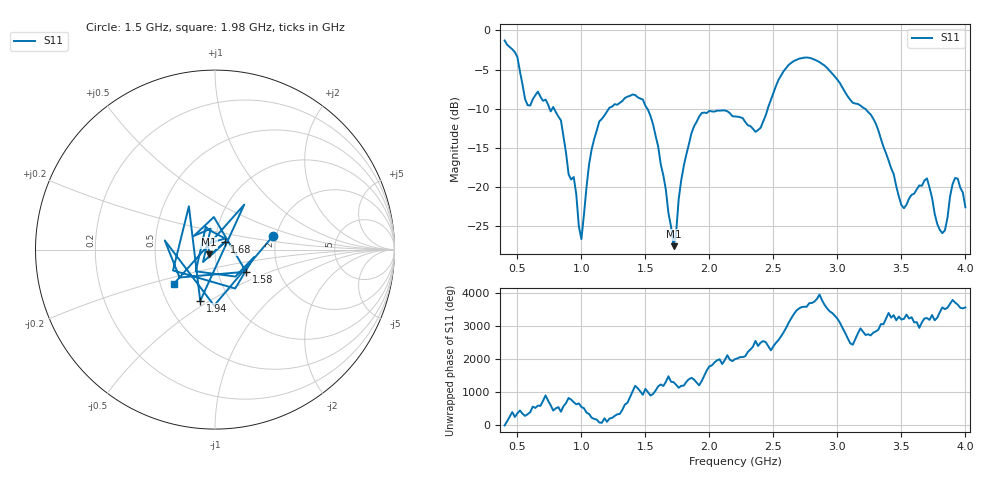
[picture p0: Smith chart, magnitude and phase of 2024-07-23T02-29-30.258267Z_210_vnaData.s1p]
!Created with skrf (http://scikit-rf.org).
# Hz S RI R 50.0
!freq ReS11 ImS11
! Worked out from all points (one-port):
!   181 points, 400 MHz to 4 GHz, reference 50 ohm
!   lowest |S11| = -27.5 dB at 1.72 GHz (marker M1), VSWR 1.09, Z = 46.7 - j2.4 ohm
!   |S11| at or under -10 dB: 787.2 MHz to 1.214 GHz (426.7 MHz wide, 42.6 % of centre); 1.515 GHz to 2.456 GHz (940.1 MHz wide, 47.3 % of centre); 3.217 GHz to end of sweep (the widest 3 of 4)
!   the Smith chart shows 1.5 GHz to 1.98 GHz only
!   S11 on the Smith chart (normalised r, x): 1.5 GHz: 1.92, +0.32; 1.58 GHz: 1.36, -0.35; 1.68 GHz: 1.11, +0.09; 1.94 GHz: 0.73, -0.46; 1.98 GHz: 0.59, -0.25
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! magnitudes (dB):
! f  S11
! 400 MHz  -1.3
! 500 MHz  -3.4
! 580 MHz  -9.5
! 660 MHz  -7.8
! 860 MHz  -13.6
! 940 MHz  -18.7
! 1 GHz  -26.6
! 1.1 GHz  -13.8
! 1.3 GHz  -9.2
! 1.5 GHz  -9.6
! 1.58 GHz  -13.5
! 1.68 GHz  -23.3
! 1.72 GHz  -27.5
! 1.76 GHz  -21.5
! 1.86 GHz  -13.1
! 1.94 GHz  -10.5
! 1.98 GHz  -10.5
! 2.2 GHz  -11.0
! 2.4 GHz  -12.4
! 2.66 GHz  -3.9
! 3.1 GHz  -8.8
! 3.28 GHz  -11.3
! 3.5 GHz  -22.3
! 3.56 GHz  -21.4
! 3.7 GHz  -18.9
! 3.82 GHz  -25.9
! 3.92 GHz  -18.8
! 4 GHz  -22.6
